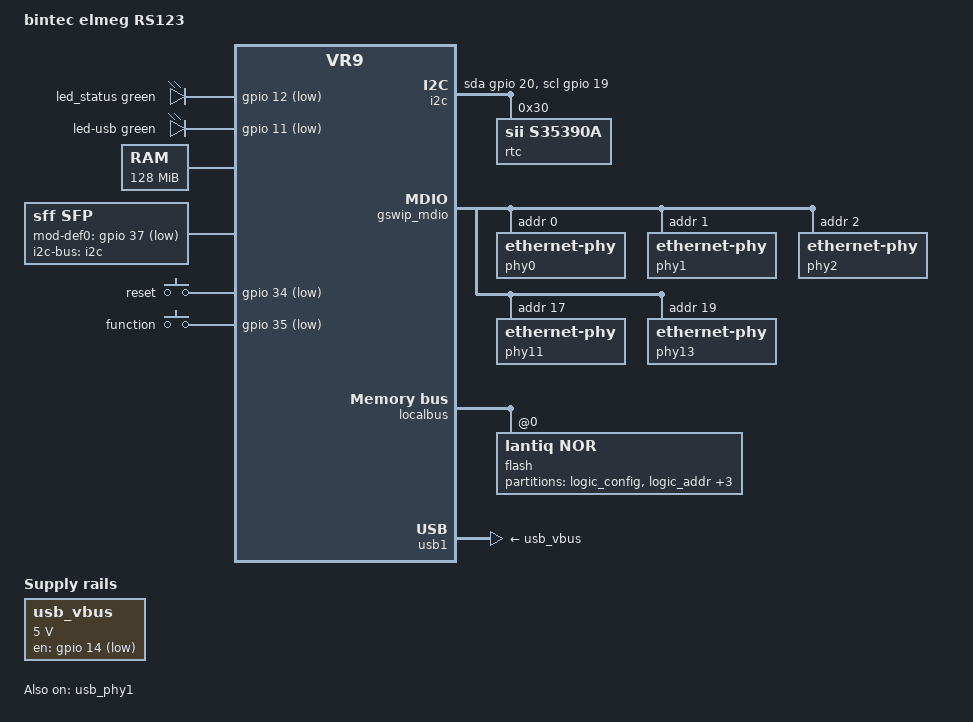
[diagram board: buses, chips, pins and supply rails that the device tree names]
// SPDX-License-Identifier: GPL-2.0-or-later OR MIT
/*
 * Based on the Bintec RS353 device tree from the openwrt-RS353 project
 * by Sebastien Decourriere (https://github.com/armSeb/openwrt-RS353).
 */

#include "vr9.dtsi"

#include <dt-bindings/input/input.h>
#include <dt-bindings/leds/common.h>
#include <dt-bindings/mips/lantiq_rcu_gphy.h>

/ {
	compatible = "bintec,rs123", "lantiq,xway", "lantiq,vr9";
	model = "bintec elmeg RS123";

	chosen {
		bootargs = "console=ttyLTQ0,115200";
	};

	aliases {
		led-boot = &led_status;
		led-failsafe = &led_status;
		led-running = &led_status;
		led-upgrade = &led_status;
	};

	leds {
		compatible = "gpio-leds";

		led_status: led-status {
			function = LED_FUNCTION_STATUS;
			color = <LED_COLOR_ID_GREEN>;
			gpios = <&gpio 12 GPIO_ACTIVE_LOW>;
			default-state = "keep";
		};

		led-usb {
			function = LED_FUNCTION_USB;
			color = <LED_COLOR_ID_GREEN>;
			gpios = <&gpio 11 GPIO_ACTIVE_LOW>;
			trigger-sources = <&ehci_port2>;
			linux,default-trigger = "usbport";
		};
	};

	memory@0 {
		device_type = "memory";
		reg = <0x0 0x8000000>;	/* 128 MB, confirmed by bootmonitor selftest */
	};

	i2c: i2c {
		compatible = "i2c-gpio";
		sda-gpios = <&gpio 20 (GPIO_ACTIVE_HIGH|GPIO_OPEN_DRAIN)>;
		scl-gpios = <&gpio 19 (GPIO_ACTIVE_HIGH|GPIO_OPEN_DRAIN)>;
		i2c-gpio,delay-us = <2>;	/* ~100 kHz */

		#address-cells = <1>;
		#size-cells = <0>;

		rtc@30 {
			compatible = "sii,s35390a";
			reg = <0x30>;
		};
	};

	/*
	 * The SFP cage shares GSWIP port 5 with the copper PHY behind ETH5,
	 * so only one of the two can be used at a time. The cage is a fixed
	 * 1000BASE-X port and needs an optical module. Only the i2c bus and
	 * the module-presence pin are known: LOS was measured as not wired
	 * to a SoC GPIO, and TX-fault/TX-disable could not be identified.
	 */
	sfp: sfp {
		compatible = "sff,sfp";
		i2c-bus = <&i2c>;
		mod-def0-gpios = <&gpio 37 GPIO_ACTIVE_LOW>;
	};

	keys {
		compatible = "gpio-keys-polled";
		poll-interval = <100>;

		reset {
			label = "reset";
			gpios = <&gpio 34 GPIO_ACTIVE_LOW>;
			linux,code = <KEY_RESTART>;
		};

		function {
			label = "function";
			gpios = <&gpio 35 GPIO_ACTIVE_LOW>;
			linux,code = <BTN_0>;
		};
	};

	usb_vbus: regulator-usb-vbus {
		compatible = "regulator-fixed";

		regulator-name = "USB_VBUS";

		regulator-min-microvolt = <5000000>;
		regulator-max-microvolt = <5000000>;

		gpios = <&gpio 14 GPIO_ACTIVE_LOW>;
	};
};

&eth0 {
	nvmem-cells = <&macaddr_boardconfig_428 0>;
	nvmem-cell-names = "mac-address";
};

&gphy0 {
	lantiq,gphy-mode = <GPHY_MODE_GE>;
};

&gphy1 {
	lantiq,gphy-mode = <GPHY_MODE_GE>;
};

&gpio {
	pinctrl-names = "default";
	pinctrl-0 = <&state_default>;

	state_default: pinmux {
		i2c {
			lantiq,pins = "io19", "io20";
			lantiq,open-drain;
			lantiq,pull = <2>;
		};
	};
};

&gswip {
	pinctrl-0 = <&mdio_pins>;
	pinctrl-names = "default";
};

&gswip_mdio {
	phy0: ethernet-phy@0 {
		reg = <0x0>;
	};
	phy1: ethernet-phy@1 {
		reg = <0x1>;
	};
	phy2: ethernet-phy@2 {
		reg = <0x2>;
	};
	phy11: ethernet-phy@11 {
		reg = <0x11>;
	};
	phy13: ethernet-phy@13 {
		reg = <0x13>;
	};
};

/* Slot 1 of the vendor firmware reports "GETH4+1", i.e. five GbE ports. */
&gswip_ports {
	port@0 {
		reg = <0>;
		label = "lan4";
		phy-mode = "rgmii-id";
		rx-internal-delay-ps = <2000>;
		tx-internal-delay-ps = <2000>;
		phy-handle = <&phy1>;
	};
	port@1 {
		reg = <1>;
		label = "lan3";
		phy-mode = "rgmii-id";
		rx-internal-delay-ps = <2000>;
		tx-internal-delay-ps = <2000>;
		phy-handle = <&phy0>;
	};
	port@2 {
		reg = <2>;
		label = "lan2";
		phy-mode = "internal";
		phy-handle = <&phy11>;
	};
	port@4 {
		reg = <4>;
		label = "lan1";
		phy-mode = "internal";
		phy-handle = <&phy13>;
	};
	port@5 {
		reg = <5>;
		label = "lan5";
		phy-mode = "rgmii-id";
		rx-internal-delay-ps = <2000>;
		tx-internal-delay-ps = <2000>;
		phy-handle = <&phy2>;
	};
};

&localbus {
	flash@0 {
		compatible = "lantiq,nor";
		bank-width = <2>;
		reg = <0 0x0 0x2000000>;	/* 32 MB, confirmed by bootmonitor */
		/* the bootmonitor leaves the EBU's own address swap enabled */
		lantiq,ebu-swap-check;

		partitions {
			compatible = "fixed-partitions";
			#address-cells = <1>;
			#size-cells = <1>;

			boardconfig: partition@0 {
				label = "logic_config";
				reg = <0x0 0x20000>;
				read-only;

				nvmem-layout {
					compatible = "fixed-layout";
					#address-cells = <1>;
					#size-cells = <1>;

					macaddr_boardconfig_428: macaddr@428 {
						compatible = "mac-base";
						reg = <0x428 0x6>;
						#nvmem-cell-cells = <1>;
					};
				};
			};

			partition@20000 {
				label = "logic_addr";
				reg = <0x20000 0x20000>;
				read-only;
			};

			partition@40000 {
				label = "bootmonitor";
				reg = <0x40000 0x20000>;
				read-only;
			};

			partition@80000 {
				label = "flash_config";
				reg = <0x80000 0x40000>;
				read-only;
			};

			partition@c0000 {
				compatible = "bintec,boss-firmware";
				label = "firmware";
				reg = <0xc0000 0x1f40000>;
			};
		};
	};
};

/* The single USB socket is on the second controller. */
&usb_phy1 {
	status = "okay";
};

&usb1 {
	status = "okay";
	vbus-supply = <&usb_vbus>;
};
